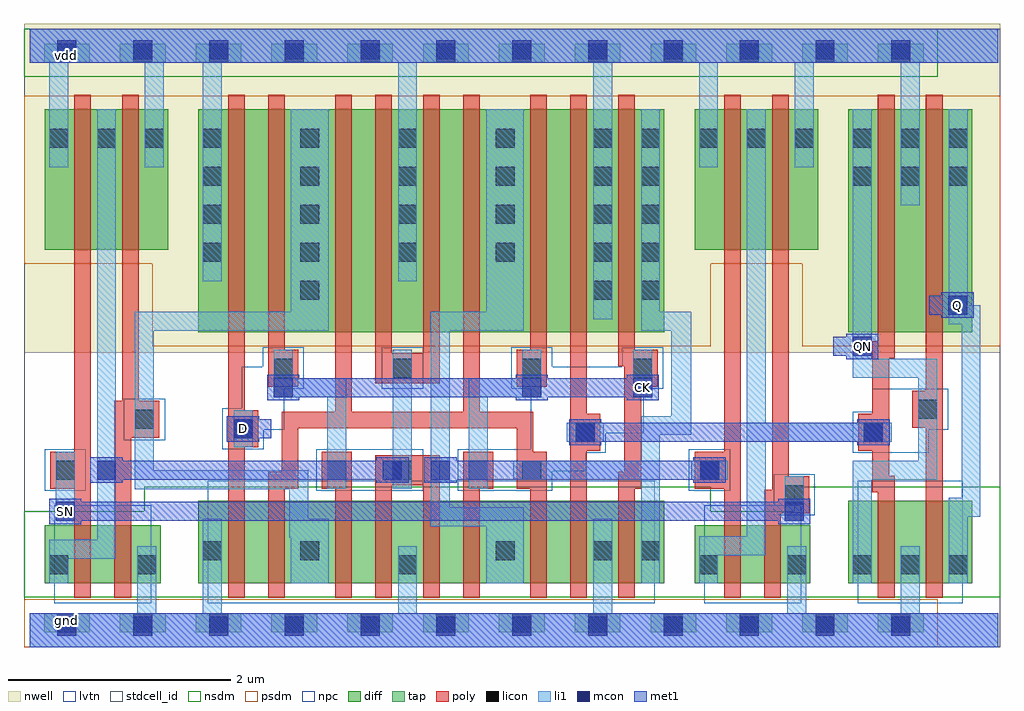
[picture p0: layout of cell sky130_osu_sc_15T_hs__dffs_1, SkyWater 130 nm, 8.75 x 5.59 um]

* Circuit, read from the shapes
.subckt sky130_osu_sc_15T_hs__dffs_1 CK D Q QN SN gnd vdd
XM1 n1 SN n2 gnd sky130_fd_pr__nfet_01v8_lvt w=0.52 l=0.15
XM2 gnd n3 n1 gnd sky130_fd_pr__nfet_01v8_lvt w=0.52 l=0.15
XM3 n4 D gnd gnd sky130_fd_pr__nfet_01v8_lvt w=0.74 l=0.15
XM4 n3 n5 n4 gnd sky130_fd_pr__nfet_01v8_lvt w=0.74 l=0.15
XM5 n6 CK n3 gnd sky130_fd_pr__nfet_01v8_lvt w=0.74 l=0.15
XM6 gnd n2 n6 gnd sky130_fd_pr__nfet_01v8_lvt w=0.74 l=0.15
XM7 n7 n2 gnd gnd sky130_fd_pr__nfet_01v8_lvt w=0.74 l=0.15
XM8 n8 CK n7 gnd sky130_fd_pr__nfet_01v8_lvt w=0.74 l=0.15
XM9 n9 n5 n8 gnd sky130_fd_pr__nfet_01v8_lvt w=0.74 l=0.15
XM10 gnd n10 n9 gnd sky130_fd_pr__nfet_01v8_lvt w=0.74 l=0.15
XM11 n5 CK gnd gnd sky130_fd_pr__nfet_01v8_lvt w=0.74 l=0.15
XM12 n11 n8 n10 gnd sky130_fd_pr__nfet_01v8_lvt w=0.52 l=0.15
XM13 gnd SN n11 gnd sky130_fd_pr__nfet_01v8_lvt w=0.52 l=0.15
XM14 gnd n10 QN gnd sky130_fd_pr__nfet_01v8_lvt w=0.74 l=0.15
XM15 Q QN gnd gnd sky130_fd_pr__nfet_01v8_lvt w=0.74 l=0.15
XM16 n2 SN vdd vdd sky130_fd_pr__pfet_01v8 w=1.26 l=0.15
XM17 vdd n3 n2 vdd sky130_fd_pr__pfet_01v8 w=1.26 l=0.15
XM18 n12 D vdd vdd sky130_fd_pr__pfet_01v8 w=2 l=0.15
XM19 n3 CK n12 vdd sky130_fd_pr__pfet_01v8 w=2 l=0.15
XM20 n13 n5 n3 vdd sky130_fd_pr__pfet_01v8 w=2 l=0.15
XM21 vdd n2 n13 vdd sky130_fd_pr__pfet_01v8 w=2 l=0.15
XM22 n14 n2 vdd vdd sky130_fd_pr__pfet_01v8 w=2 l=0.15
XM23 n8 n5 n14 vdd sky130_fd_pr__pfet_01v8 w=2 l=0.15
XM24 n15 CK n8 vdd sky130_fd_pr__pfet_01v8 w=2 l=0.15
XM25 vdd n10 n15 vdd sky130_fd_pr__pfet_01v8 w=2 l=0.15
XM26 n5 CK vdd vdd sky130_fd_pr__pfet_01v8 w=2 l=0.15
XM27 n10 n8 vdd vdd sky130_fd_pr__pfet_01v8 w=1.26 l=0.15
XM28 vdd SN n10 vdd sky130_fd_pr__pfet_01v8 w=1.26 l=0.15
XM29 vdd n10 QN vdd sky130_fd_pr__pfet_01v8 w=2 l=0.15
XM30 Q QN vdd vdd sky130_fd_pr__pfet_01v8 w=2 l=0.15
.ends

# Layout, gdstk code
import gdstk
lib = gdstk.Library(unit=1e-6, precision=1e-09)
def R(c, l, rs):  # rectangles x0, y0, x1, y1
    for r in rs: c.add(gdstk.rectangle(r[:2], r[2:], *l))
def A(c, l, x, y, w, h, nx, ny, dx, dy):  # array of equal rectangles
    R(c, l, [(x+i*dx, y+j*dy, x+i*dx+w, y+j*dy+h) for i in range(nx) for j in range(ny)])
nwell = (64, 20)
diff = (65, 20)
tap = (65, 44)
poly = (66, 20)
licon = (66, 44)
li1 = (67, 20)
mcon = (67, 44)
met1 = (68, 20)
stdcell_id = (81, 4)
nsdm = (93, 44)
psdm = (94, 20)
npc = (95, 20)
lvtn = (125, 44)

sky130_osu_sc_15t_hs__df = lib.new_cell('sky130_osu_sc_15T_hs__dffs_1')
R(sky130_osu_sc_15t_hs__df, nwell, [(-0.05,2.645,8.705,5.595)])
R(sky130_osu_sc_15t_hs__df, diff, [(0.135,0.575,1.175,1.095), (1.515,0.575,5.695,1.315), (5.965,0.575,7.005,1.095), (7.345,0.575,8.455,1.315), (1.515,2.825,5.695,4.825), (7.345,2.825,8.455,4.825), (0.135,3.565,1.245,4.825), (5.965,3.565,7.075,4.825)])
A(sky130_osu_sc_15t_hs__df, tap, 0.13, 0.135, 0.41, 0.17, 12, 2, 0.68, 5.11)
R(sky130_osu_sc_15t_hs__df, poly, [(0.4,0.445,0.55,1.425), (0.76,0.445,0.91,1.88), (1.78,0.445,1.93,1.795), (2.14,0.445,2.29,1.425), (2.74,0.445,2.89,1.425), (3.1,0.445,3.25,1.455), (3.53,0.445,3.68,1.455), (3.89,0.445,4.04,1.425), (4.49,0.445,4.64,1.425), (4.85,0.445,5,1.765), (5.28,0.445,5.43,1.425), (6.23,0.445,6.38,1.425), (6.59,0.445,6.74,1.205), (7.61,0.445,7.76,1.39), (8.04,0.445,8.19,1.97), (6.59,1.205,6.995,1.415), (7.56,1.39,7.76,1.54), (6.66,1.415,6.995,1.535), (0.185,1.425,0.55,1.755), (2.14,1.425,2.41,1.575), (2.62,1.425,2.89,1.755), (3.89,1.425,4.16,1.755), (4.37,1.425,4.64,1.755), (5.28,1.425,5.485,1.575), (5.965,1.425,6.38,1.755), (3.1,1.455,3.68,1.725), (6.66,1.535,6.81,4.955), (7.56,1.54,7.71,1.765), (2.26,1.575,2.41,1.965), (5.335,1.575,5.485,2.34), (0.4,1.755,0.55,4.955), (4.37,1.755,4.52,1.965), (6.23,1.755,6.38,4.955), (4.85,1.765,5.12,2.095), (7.435,1.765,7.71,2.095), (1.78,1.795,2.05,2.125), (0.76,1.88,1.165,2.21), (2.26,1.965,4.52,2.115), (7.92,1.97,8.19,2.3), (4.85,2.095,5,4.955), (7.56,2.095,7.71,2.595), (2.74,2.115,2.89,4.955), (3.89,2.115,4.04,4.955), (1.78,2.125,1.93,4.955), (0.83,2.21,0.98,4.955), (8.04,2.3,8.19,4.955), (2.14,2.34,2.41,2.67), (4.37,2.34,4.64,2.67), (5.335,2.34,5.635,2.52), (3.1,2.37,3.68,2.64), (5.28,2.52,5.635,2.67), (7.56,2.595,7.76,2.745), (3.1,2.64,3.25,4.955), (3.53,2.64,3.68,4.955), (2.14,2.67,2.29,4.955), (4.49,2.67,4.64,4.955), (5.28,2.67,5.43,4.955), (7.61,2.745,7.76,4.955)])
A(sky130_osu_sc_15t_hs__df, licon, 0.25, 0.135, 0.17, 0.17, 12, 2, 0.68, 5.11)
A(sky130_osu_sc_15t_hs__df, licon, 7.385, 0.655, 0.17, 0.17, 3, 2, 0.43, 3.485)
A(sky130_osu_sc_15t_hs__df, licon, 5.485, 3.12, 0.17, 0.17, 1, 5, 0, 0.34)
A(sky130_osu_sc_15t_hs__df, licon, 1.555, 3.46, 0.17, 0.17, 5, 4, 0.875, 0.34)
A(sky130_osu_sc_15t_hs__df, licon, 0.175, 4.48, 0.17, 0.17, 3, 1, 0.43, 0)
A(sky130_osu_sc_15t_hs__df, licon, 6.005, 4.48, 0.17, 0.17, 3, 1, 0.43, 0)
A(sky130_osu_sc_15t_hs__df, licon, 7.385, 4.48, 0.17, 0.17, 3, 1, 0.43, 0)
R(sky130_osu_sc_15t_hs__df, licon, [(0.175,0.655,0.345,0.825), (0.965,0.655,1.135,0.825), (3.305,0.655,3.475,0.825), (6.005,0.655,6.175,0.825), (6.795,0.655,6.965,0.825), (1.555,0.78,1.725,0.95), (2.43,0.78,2.6,0.95), (4.18,0.78,4.35,0.95), (5.055,0.78,5.225,0.95), (5.485,0.78,5.655,0.95), (6.775,1.285,6.945,1.455), (0.235,1.505,0.405,1.675), (2.67,1.505,2.84,1.675), (3.26,1.505,3.43,1.675), (3.94,1.505,4.11,1.675), (4.42,1.505,4.59,1.675), (6.015,1.505,6.185,1.675), (4.9,1.845,5.07,2.015), (7.485,1.845,7.655,2.015), (1.83,1.875,2,2.045), (0.945,1.96,1.115,2.13), (7.97,2.05,8.14,2.22), (2.19,2.42,2.36,2.59), (3.26,2.42,3.43,2.59), (4.42,2.42,4.59,2.59), (5.415,2.42,5.585,2.59), (2.43,3.12,2.6,3.29), (5.055,3.12,5.225,3.29)])
R(sky130_osu_sc_15t_hs__df, li1, [(0,0,8.69,0.305), (0.965,0.305,1.135,0.905), (1.555,0.305,1.725,1.155), (3.305,0.305,3.475,0.905), (5.055,0.305,5.225,1.155), (6.795,0.305,6.965,0.905), (7.815,0.305,7.985,0.905), (0.175,0.575,0.345,0.795), (2.345,0.575,2.685,0.985), (4.095,0.575,4.435,1.085), (5.485,0.575,5.655,1.505), (6.005,0.575,6.175,0.825), (7.385,0.575,7.555,1.505), (8.245,0.575,8.415,1.17), (0.175,0.795,0.775,0.965), (6.005,0.825,6.605,0.995), (0.605,0.965,0.775,4.825), (2.33,0.985,2.685,1.155), (6.435,0.995,6.605,1.845), (3.6,1.085,4.435,1.255), (0.235,1.135,0.405,1.755), (6.775,1.135,6.945,1.535), (2.33,1.155,2.5,1.42), (8.245,1.17,8.53,1.34), (3.6,1.255,3.77,2.84), (8.36,1.34,8.53,2.9), (0.945,1.42,2.5,1.59), (2.67,1.425,2.84,2.245), (3.26,1.425,3.43,1.505), (3.94,1.425,4.11,2.245), (3.17,1.505,3.43,1.675), (4.34,1.505,5.655,1.675), (5.935,1.505,6.265,1.675), (7.385,1.505,8.14,1.675), (0.945,1.59,1.115,2.84), (3.26,1.675,3.43,2.67), (5.485,1.675,5.655,1.905), (7.97,1.675,8.14,2.42), (1.83,1.795,2,2.125), (4.82,1.845,5.15,2.015), (6.435,1.845,7.735,2.015), (5.485,1.905,5.935,2.075), (6.435,2.015,6.605,4.825), (5.755,2.075,5.935,2.84), (2.19,2.245,2.84,2.415), (3.94,2.245,4.59,2.415), (5.415,2.245,5.585,2.67), (2.19,2.415,2.36,2.67), (4.42,2.415,4.59,2.67), (7.385,2.42,8.14,2.59), (7.385,2.59,7.555,4.825), (0.945,2.84,2.685,3.01), (3.6,2.84,4.435,3.01), (5.485,2.84,5.935,3.01), (8.245,2.9,8.53,2.985), (5.055,2.945,5.225,5.245), (8.24,2.985,8.53,3.07), (2.345,3.01,2.685,4.825), (4.095,3.01,4.435,4.825), (5.485,3.01,5.655,4.825), (8.24,3.07,8.415,3.155), (8.245,3.155,8.415,4.825), (1.555,3.285,1.725,5.245), (3.305,3.285,3.475,5.245), (7.815,3.965,7.985,5.245), (0.175,4.305,0.345,5.245), (1.035,4.305,1.205,5.245), (6.005,4.305,6.175,5.245), (6.865,4.305,7.035,5.245), (0,5.245,8.69,5.55)])
A(sky130_osu_sc_15t_hs__df, mcon, 0.25, 0.105, 0.17, 0.17, 12, 2, 0.68, 5.17)
R(sky130_osu_sc_15t_hs__df, mcon, [(0.235,1.135,0.405,1.305), (6.775,1.135,6.945,1.305), (0.605,1.505,0.775,1.675), (3.17,1.505,3.34,1.675), (3.6,1.505,3.77,1.675), (6.015,1.505,6.185,1.675), (4.9,1.845,5.07,2.015), (7.485,1.845,7.655,2.015), (1.83,1.875,2,2.045), (2.19,2.245,2.36,2.415), (4.42,2.245,4.59,2.415), (5.415,2.245,5.585,2.415), (7.385,2.615,7.555,2.785), (8.24,2.985,8.41,3.155)])
R(sky130_osu_sc_15t_hs__df, met1, [(0,0,8.69,0.305), (0.175,1.105,0.465,1.135), (6.715,1.105,7.005,1.135), (0.175,1.135,7.005,1.305), (0.175,1.305,0.465,1.335), (6.715,1.305,7.005,1.335), (0.545,1.475,0.835,1.505), (3.11,1.475,3.4,1.505), (3.54,1.475,3.83,1.505), (5.955,1.475,6.245,1.505), (0.545,1.505,3.4,1.675), (3.54,1.505,6.245,1.675), (0.545,1.675,0.835,1.705), (3.11,1.675,3.4,1.705), (3.54,1.675,3.83,1.705), (5.955,1.675,6.245,1.705), (4.84,1.815,5.13,1.845), (7.425,1.815,7.715,1.845), (1.77,1.845,2.06,1.875), (4.84,1.845,7.715,2.015), (1.77,1.875,2.17,2.045), (4.84,2.015,5.13,2.045), (7.425,2.015,7.715,2.045), (1.77,2.045,2.06,2.075), (2.13,2.215,2.42,2.245), (4.36,2.215,4.65,2.245), (5.355,2.215,5.645,2.245), (2.13,2.245,5.645,2.415), (2.13,2.415,2.42,2.445), (4.36,2.415,4.65,2.445), (5.355,2.415,5.645,2.445), (7.325,2.585,7.615,2.615), (7.21,2.615,7.615,2.785), (7.325,2.785,7.615,2.815), (8.18,2.955,8.47,2.985), (8.07,2.985,8.47,3.155), (8.18,3.155,8.47,3.185), (0,5.245,8.69,5.55)])
R(sky130_osu_sc_15t_hs__df, stdcell_id, [(-0.05,0,8.705,5.55)])
R(sky130_osu_sc_15t_hs__df, nsdm, [(-0.05,0.45,8.705,1.22), (1.03,1.22,6.11,1.44), (6.86,1.22,8.705,1.44), (-0.05,5.12,8.145,5.55)])
R(sky130_osu_sc_15t_hs__df, psdm, [(-0.05,0,8.145,0.43), (1.1,2.7,6.11,3.44), (6.93,2.7,8.705,3.44), (-0.05,3.44,8.705,4.95)])
R(sky130_osu_sc_15t_hs__df, npc, [(6.675,1.185,7.045,1.555), (0.135,1.405,0.505,1.775), (2.57,1.405,3.53,1.775), (3.84,1.405,4.69,1.58), (5.915,1.405,6.285,1.775), (3.84,1.58,4.995,1.745), (3.84,1.745,5.17,1.775), (7.385,1.745,8.065,1.95), (1.73,1.775,2.1,1.95), (4.495,1.775,5.17,1.92), (0.845,1.86,1.215,2.23), (4.495,1.92,5.51,2.32), (1.73,1.95,2.285,2.145), (7.385,1.95,8.24,2.115), (7.56,2.115,8.24,2.32), (1.905,2.145,2.285,2.32), (1.905,2.32,2.46,2.515), (3.16,2.32,3.53,2.69), (4.32,2.32,5.685,2.515), (2.09,2.515,2.46,2.69), (4.32,2.515,4.69,2.69), (5.315,2.515,5.685,2.69)])
R(sky130_osu_sc_15t_hs__df, lvtn, [(0.22,0.395,1.09,1.275), (1.6,0.395,5.61,1.495), (6.05,0.395,6.92,1.275), (7.43,0.395,8.37,1.495)])
sky130_osu_sc_15t_hs__df.add(gdstk.Label('gnd', (0.335,0.24), layer=68, texttype=16))
sky130_osu_sc_15t_hs__df.add(gdstk.Label('vdd', (0.335,5.31), layer=68, texttype=16))
sky130_osu_sc_15t_hs__df.add(gdstk.Label('D', (1.915,1.96), layer=68, texttype=5))
sky130_osu_sc_15t_hs__df.add(gdstk.Label('CK', (5.5,2.33), layer=68, texttype=5))
sky130_osu_sc_15t_hs__df.add(gdstk.Label('Q', (8.325,3.07), layer=68, texttype=5))
sky130_osu_sc_15t_hs__df.add(gdstk.Label('QN', (7.475,2.7), layer=68, texttype=5))
sky130_osu_sc_15t_hs__df.add(gdstk.Label('SN', (0.32,1.22), layer=68, texttype=5))

lib.write_gds('sky130_osu_sc_15T_hs__dffs_1.gds')
